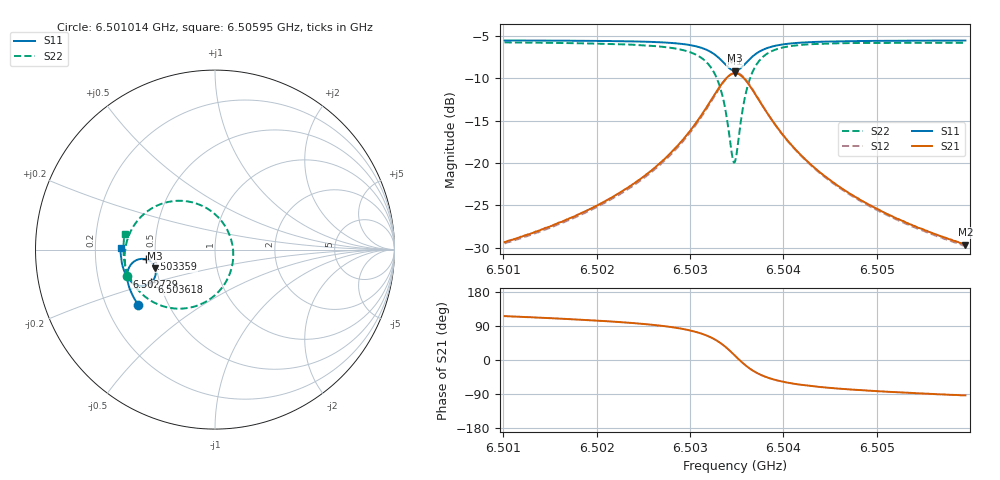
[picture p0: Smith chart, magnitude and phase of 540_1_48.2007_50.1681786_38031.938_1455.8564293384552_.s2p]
#  HZ  S  RI  R  50.00
! Rohde & Schwarz Vector Network Analyzer
! Rohde-Schwarz,ZNB20-2Port,1311601062101988,3.16
! Created: UTC 3/20/2024, 12:00:14 PM
! freq[Hz]  re:S11  im:S11  re:S21  im:S21  re:S12  im:S12  re:S22  im:S22
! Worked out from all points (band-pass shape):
!   401 points, 6.501014 GHz to 6.50595 GHz, reference 50 ohm
!   highest |S21| = -9.43 dB at 6.503482 GHz (marker M1); lowest = -29.6 dB at 6.50595 GHz (marker M2)
!   |S21| within 3 dB of the highest: 6.503236 GHz to 6.503729 GHz (493.1 kHz wide, 0.00758 % of centre)
!   lowest |S11| = -9.1 dB at 6.503482 GHz (marker M3), VSWR 2.07, Z = 24.5 - j5.85 ohm
!   |S11| at or under -10 dB: nowhere
!   |S22| runs from -20.0 to -5.8 dB; largest |S21 - S12| = 0.011
!   S11 on the Smith chart (normalised r, x): 6.501014 GHz: 0.34, -0.29; 6.502729 GHz: 0.33, -0.14; 6.503359 GHz: 0.44, -0.06; 6.503618 GHz: 0.45, -0.19; 6.50595 GHz: 0.31, +0.01
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6.5010138e9  -0.4288 -0.3063  -0.0148 0.0308  -0.0132 0.0308  -0.4911 -0.1498
6.5018406e9  -0.4641 -0.2448  -0.0142 0.0489  -0.0117 0.0483  -0.5034 -0.0611
6.5022972e9  -0.4799 -0.2038  -0.0111 0.0686  -0.00813 0.0674  -0.4997 0.00484
6.5026675e9  -0.4886 -0.1623  -0.00162 0.0985  0.00172 0.0962  -0.4794 0.0803
6.5027292e9  -0.489 -0.1539  0.00137 0.1056  0.0049 0.1031  -0.4725 0.0964
6.5029513e9  -0.4857 -0.1189  0.0234 0.141  0.0268 0.1368  -0.4267 0.1671
6.5031117e9  -0.4712 -0.0866  0.0625 0.177  0.0651 0.1713  -0.3509 0.2305
6.5032598e9  -0.4336 -0.0569  0.1438 0.2058  0.1443 0.1999  -0.2027 0.272
6.5033586e9  -0.3872 -0.0538  0.235 0.1896  0.2349 0.1854  -0.0451 0.2301
6.5034449e9  -0.3444 -0.0826  0.3134 0.1155  0.3158 0.1118  0.0801 0.0841
6.5034696e9  -0.3362 -0.0967  0.3267 0.0838  0.3301 0.0795  0.0972 0.0245
6.503482e9  -0.3333 -0.1046  0.3311 0.067  0.3347 0.062  0.1013 -0.00688
6.5035066e9  -0.3302 -0.1208  0.3346 0.0322  0.3387 0.0264  0.0991 -0.0701
6.5035437e9  -0.3322 -0.1448  0.3275 -0.0178  0.3312 -0.026  0.0721 -0.1589
6.5036177e9  -0.3544 -0.1819  0.2811 -0.0942  0.2814 -0.1053  -0.0374 -0.2821
6.5037164e9  -0.3953 -0.2014  0.203 -0.1377  0.1987 -0.1475  -0.1962 -0.3292
6.5038769e9  -0.4445 -0.1939  0.1152 -0.1372  0.1084 -0.1426  -0.356 -0.2856
6.5040496e9  -0.4738 -0.1727  0.0673 -0.1164  0.0611 -0.1189  -0.4338 -0.2187
6.5043088e9  -0.4962 -0.1412  0.0345 -0.0898  0.0298 -0.0904  -0.4813 -0.1408
6.5046667e9  -0.5116 -0.1034  0.0155 -0.0666  0.0123 -0.0663  -0.5038 -0.0675
6.5051356e9  -0.5213 -0.0596  0.00509 -0.049  0.00298 -0.0484  -0.5105 0.000242
6.5059502e9  -0.5265 0.00974  -0.00193 -0.033  -0.00324 -0.0322  -0.503 0.0876
